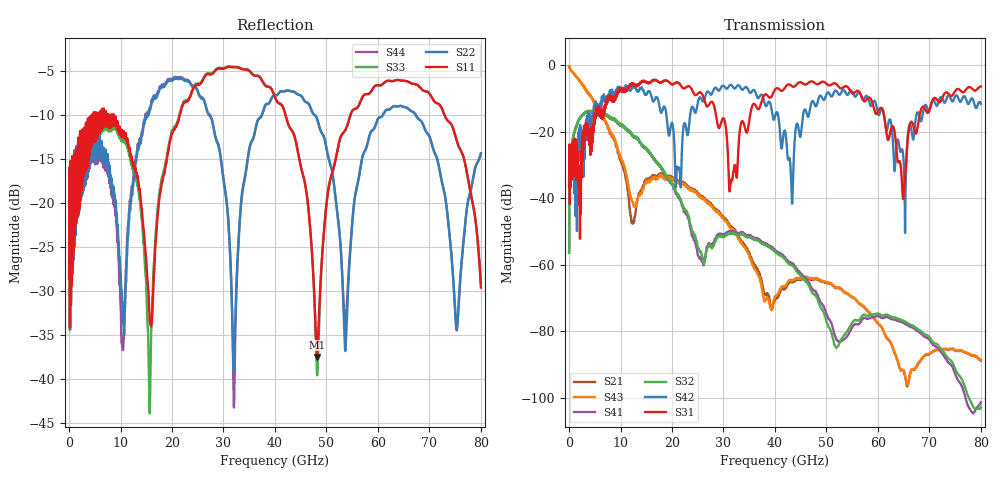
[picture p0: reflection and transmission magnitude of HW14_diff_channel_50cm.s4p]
! HW14 differential channel; identifying export comments removed.
# GHz S MA R 50.000000
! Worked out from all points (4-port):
!   8000 points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, 10 MHz to 80 GHz, reference 50 ohm
!   strongest paths, dB at 10 MHz, 20.01 GHz, 40.01 GHz, 60.01 GHz, 80 GHz:
!     S31: -36.7, -5.7, -7.3, -14.1, -6.4
!     S42: -36.7, -17.3, -15.4, -14.5, -11.6
!     S32: -56.3, -35.6, -56.0, -74.6, -102.9
!     S41: -56.3, -35.9, -55.4, -75.4, -101.4
!     S43: -0.3, -34.3, -69.6, -77.5, -88.6
!     S21: -0.3, -33.8, -70.3, -77.6, -88.8
!   lowest |S11| = -37.5 dB at 48.17 GHz (marker M1), VSWR 1.03, Z = 51.3 + j0.284 ohm
!   |S11| at or under -10 dB: 8.7 GHz to 21.5 GHz (12.8 GHz wide, 84.8 % of centre); 42.02 GHz to 54.66 GHz (12.64 GHz wide, 26.1 % of centre); 72.92 GHz to end of sweep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
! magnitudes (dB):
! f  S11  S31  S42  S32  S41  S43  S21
! 10 MHz  -28.6  -36.7  -36.7  -56.3  -56.3  -0.3  -0.3
! 5.87 GHz  -12.1  -14.8  -15.1  -13.9  -13.9  -13.3  -13.4
! 15.62 GHz  -32.7  -5.2  -7.8  -26.3  -26.5  -35.0  -34.3
! 31.42 GHz  -4.6  -34.8  -5.9  -50.4  -49.9  -48.9  -48.4
! 48.17 GHz  -37.5  -5.7  -11.7  -69.9  -68.7  -64.0  -64.3
! 64.94 GHz  -6.1  -39.9  -27.8  -76.8  -77.5  -91.6  -91.8
! 80 GHz  -29.6  -6.4  -11.6  -102.9  -101.4  -88.6  -88.8
